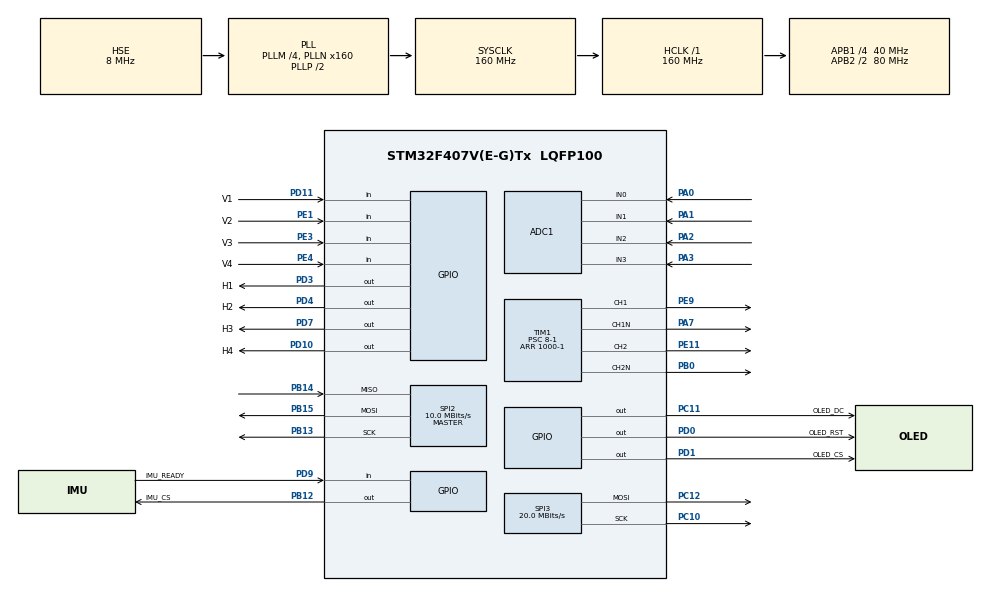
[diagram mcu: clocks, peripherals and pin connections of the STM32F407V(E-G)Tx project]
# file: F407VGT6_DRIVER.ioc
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ADC1.Channel-0\#ChannelRegularConversion=ADC_CHANNEL_0
ADC1.Channel-1\#ChannelRegularConversion=ADC_CHANNEL_1
ADC1.Channel-2\#ChannelRegularConversion=ADC_CHANNEL_2
ADC1.Channel-3\#ChannelRegularConversion=ADC_CHANNEL_3
ADC1.Channel-4\#ChannelRegularConversion=ADC_CHANNEL_VREFINT
ADC1.ClockPrescaler=ADC_CLOCK_SYNC_PCLK_DIV8
ADC1.DMAContinuousRequests=ENABLE
ADC1.ExternalTrigConv=ADC_EXTERNALTRIGCONV_T3_TRGO
ADC1.NbrOfConversion=5
ADC1.NbrOfConversionFlag=1
ADC1.Rank-0\#ChannelRegularConversion=1
ADC1.Rank-1\#ChannelRegularConversion=2
ADC1.Rank-2\#ChannelRegularConversion=3
ADC1.Rank-3\#ChannelRegularConversion=4
ADC1.Rank-4\#ChannelRegularConversion=5
ADC1.SamplingTime-0\#ChannelRegularConversion=ADC_SAMPLETIME_15CYCLES
ADC1.SamplingTime-1\#ChannelRegularConversion=ADC_SAMPLETIME_15CYCLES
ADC1.SamplingTime-2\#ChannelRegularConversion=ADC_SAMPLETIME_15CYCLES
ADC1.SamplingTime-3\#ChannelRegularConversion=ADC_SAMPLETIME_15CYCLES
ADC1.SamplingTime-4\#ChannelRegularConversion=ADC_SAMPLETIME_112CYCLES
ADC1.ScanConvMode=ENABLE
ADC1.master=1
Dma.ADC1.0.Direction=DMA_PERIPH_TO_MEMORY
Dma.ADC1.0.FIFOMode=DMA_FIFOMODE_DISABLE
Dma.ADC1.0.Instance=DMA2_Stream0
Dma.ADC1.0.MemDataAlignment=DMA_MDATAALIGN_WORD
Dma.ADC1.0.MemInc=DMA_MINC_ENABLE
Dma.ADC1.0.Mode=DMA_CIRCULAR
Dma.ADC1.0.PeriphDataAlignment=DMA_PDATAALIGN_WORD
Dma.ADC1.0.PeriphInc=DMA_PINC_DISABLE
Dma.ADC1.0.Priority=DMA_PRIORITY_LOW
Dma.Request0=ADC1
Mcu.Family=STM32F4
Mcu.Name=STM32F407V(E-G)Tx
Mcu.Package=LQFP100
NVIC.ADC_IRQn=true\:1\:0\:true\:false\:true\:true\:true\:true
NVIC.DMA2_Stream0_IRQn=true\:0\:0\:false\:false\:true\:false\:true\:true
NVIC.PriorityGroup=NVIC_PRIORITYGROUP_4
NVIC.TIM2_IRQn=true\:0\:0\:false\:false\:true\:true\:true\:true
NVIC.TIM4_IRQn=true\:0\:0\:false\:false\:true\:true\:true\:true
PA0-WKUP.Signal=ADCx_IN0
PA1.Signal=ADCx_IN1
PA13.Mode=Serial_Wire
PA13.Signal=SYS_JTMS-SWDIO
PA14.Mode=Serial_Wire
PA14.Signal=SYS_JTCK-SWCLK
PA2.Signal=ADCx_IN2
PA3.Signal=ADCx_IN3
PA7.Mode=PWM Generation1 CH1 CH1N
PA7.Signal=TIM1_CH1N
PB0.Mode=PWM Generation2 CH2 CH2N
PB0.Signal=TIM1_CH2N
PB12.GPIO_Label=IMU_CS
PB12.GPIO_PuPd=GPIO_PULLUP
PB12.GPIO_Speed=GPIO_SPEED_FREQ_HIGH
PB12.Signal=GPIO_Output
PB13.Mode=Full_Duplex_Master
PB13.Signal=SPI2_SCK
PB14.Mode=Full_Duplex_Master
PB14.Signal=SPI2_MISO
PB15.Mode=Full_Duplex_Master
PB15.Signal=SPI2_MOSI
PC10.Mode=TX_Only_Simplex_Unidirect_Master
PC10.Signal=SPI3_SCK
PC11.GPIO_Label=OLED_DC
PC11.GPIO_ModeDefaultOutputPP=GPIO_MODE_OUTPUT_PP
PC11.GPIO_PuPd=GPIO_PULLDOWN
PC11.GPIO_Speed=GPIO_SPEED_FREQ_HIGH
PC11.Signal=GPIO_Output
PC12.Mode=TX_Only_Simplex_Unidirect_Master
PC12.Signal=SPI3_MOSI
PC14-OSC32_IN.Mode=LSE-External-Oscillator
PC14-OSC32_IN.Signal=RCC_OSC32_IN
PC15-OSC32_OUT.Mode=LSE-External-Oscillator
PC15-OSC32_OUT.Signal=RCC_OSC32_OUT
PD0.GPIO_Label=OLED_RST
PD0.GPIO_PuPd=GPIO_PULLUP
PD0.Signal=GPIO_Output
PD1.GPIO_Label=OLED_CS
PD1.GPIO_PuPd=GPIO_PULLUP
PD1.Signal=GPIO_Output
PD10.GPIO_Label=H4
PD10.GPIO_PuPd=GPIO_PULLDOWN
PD10.GPIO_Speed=GPIO_SPEED_FREQ_HIGH
PD10.Signal=GPIO_Output
PD11.GPIO_Label=V1
PD11.GPIO_PuPd=GPIO_PULLDOWN
PD11.Signal=GPIO_Input
PD3.GPIO_Label=H1
PD3.GPIO_PuPd=GPIO_PULLDOWN
PD3.GPIO_Speed=GPIO_SPEED_FREQ_HIGH
PD3.Signal=GPIO_Output
PD4.GPIO_Label=H2
PD4.GPIO_PuPd=GPIO_PULLDOWN
PD4.GPIO_Speed=GPIO_SPEED_FREQ_HIGH
PD4.Signal=GPIO_Output
PD7.GPIO_Label=H3
PD7.GPIO_PuPd=GPIO_PULLDOWN
PD7.GPIO_Speed=GPIO_SPEED_FREQ_HIGH
PD7.Signal=GPIO_Output
PD9.GPIO_Label=IMU_READY
PD9.GPIO_PuPd=GPIO_PULLDOWN
PD9.Signal=GPIO_Input
PE1.GPIO_Label=V2
PE1.GPIO_PuPd=GPIO_PULLDOWN
PE1.Signal=GPIO_Input
PE11.Signal=S_TIM1_CH2
PE3.GPIO_Label=V3
PE3.GPIO_PuPd=GPIO_PULLDOWN
PE3.Signal=GPIO_Input
PE4.GPIO_Label=V4
PE4.GPIO_PuPd=GPIO_PULLDOWN
PE4.Signal=GPIO_Input
PE9.Signal=S_TIM1_CH1
PH0-OSC_IN.Mode=HSE-External-Oscillator
PH0-OSC_IN.Signal=RCC_OSC_IN
PH1-OSC_OUT.Mode=HSE-External-Oscillator
PH1-OSC_OUT.Signal=RCC_OSC_OUT
ProjectManager.HeapSize=0x200
ProjectManager.StackSize=0x400
ProjectManager.TargetToolchain=STM32CubeIDE
RCC.48MHZClocksFreq_Value=80000000
RCC.AHBFreq_Value=160000000
RCC.APB1CLKDivider=RCC_HCLK_DIV4
RCC.APB1Freq_Value=40000000
RCC.APB1TimFreq_Value=80000000
RCC.APB2CLKDivider=RCC_HCLK_DIV2
RCC.APB2Freq_Value=80000000
RCC.APB2TimFreq_Value=160000000
RCC.CortexFreq_Value=160000000
RCC.HCLKFreq_Value=160000000
RCC.HSE_VALUE=8000000
RCC.HSI_VALUE=16000000
RCC.PLLM=4
RCC.PLLN=160
RCC.PLLSourceVirtual=RCC_PLLSOURCE_HSE
RCC.SYSCLKFreq_VALUE=160000000
RCC.SYSCLKSource=RCC_SYSCLKSOURCE_PLLCLK
RCC.VCOOutputFreq_Value=320000000
SH.ADCx_IN0.0=ADC1_IN0,IN0
SH.ADCx_IN1.0=ADC1_IN1,IN1
SH.ADCx_IN2.0=ADC1_IN2,IN2
SH.ADCx_IN3.0=ADC1_IN3,IN3
SH.S_TIM1_CH1.0=TIM1_CH1,PWM Generation1 CH1 CH1N
SH.S_TIM1_CH2.0=TIM1_CH2,PWM Generation2 CH2 CH2N
SPI2.BaudRatePrescaler=SPI_BAUDRATEPRESCALER_4
SPI2.CLKPhase=SPI_PHASE_2EDGE
SPI2.CLKPolarity=SPI_POLARITY_HIGH
SPI2.CalculateBaudRate=10.0 MBits/s
SPI2.Direction=SPI_DIRECTION_2LINES
SPI2.Mode=SPI_MODE_MASTER
SPI2.VirtualType=VM_MASTER
SPI3.CalculateBaudRate=20.0 MBits/s
SPI3.Direction=SPI_DIRECTION_2LINES
SPI3.Mode=SPI_MODE_MASTER
SPI3.VirtualType=VM_MASTER
STMicroelectronics.X-CUBE-ALGOBUILD.1.4.0.LibraryCcDSPOoLibraryJjDSPOoLibrary=true
TIM1.AutoReloadPreload=TIM_AUTORELOAD_PRELOAD_ENABLE
TIM1.AutomaticOutput=TIM_AUTOMATICOUTPUT_DISABLE
TIM1.Channel-PWM\ Generation1\ CH1\ CH1N=TIM_CHANNEL_1
TIM1.Channel-PWM\ Generation2\ CH2\ CH2N=TIM_CHANNEL_2
TIM1.DeadTime=144
TIM1.OffStateIDLEMode=TIM_OSSI_ENABLE
TIM1.OffStateRunMode=TIM_OSSR_ENABLE
TIM1.Period=1000-1
TIM1.Prescaler=8-1
TIM1.Pulse-PWM\ Generation1\ CH1\ CH1N=800
TIM1.Pulse-PWM\ Generation2\ CH2\ CH2N=800
TIM2.AutoReloadPreload=TIM_AUTORELOAD_PRELOAD_ENABLE
TIM2.Period=10-1
TIM2.Prescaler=800-1
TIM3.Period=100-1
TIM3.Prescaler=80-1
TIM3.TIM_MasterOutputTrigger=TIM_TRGO_UPDATE
TIM4.Period=20000-1
TIM4.Prescaler=16000-1
VP_ADC1_Vref_Input.Mode=IN-Vrefint
VP_STMicroelectronics.X-CUBE-ALGOBUILD_VS_DSPOoLibraryJjLibrary_1.4.0_1.4.0.Mode=DSPOoLibraryJjLibrary
VP_TIM1_VS_ClockSourceINT.Mode=Internal
VP_TIM2_VS_ClockSourceINT.Mode=Internal
VP_TIM3_VS_ClockSourceINT.Mode=Internal
VP_TIM4_VS_ClockSourceINT.Mode=Internal
board=custom

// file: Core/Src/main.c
/* USER CODE BEGIN Header */
/**
  ******************************************************************************
  * @file           : main.c
  * @brief          : Main program body
  ******************************************************************************
  * @attention
  *
  * Copyright (c) 2025 STMicroelectronics.
  * All rights reserved.
  *
  * This software is licensed under terms that can be found in the LICENSE file
  * in the root directory of this software component.
  * If no LICENSE file comes with this software, it is provided AS-IS.
  *
  ******************************************************************************
  */
/* USER CODE END Header */
#include "main.h"
#include "adc.h"
#include "dma.h"
#include "spi.h"
#include "tim.h"
#include "gpio.h"

/* USER CODE BEGIN Includes */
#include "../../my_drivers/include/float_tools.h"
#include "arm_math.h"
/* USER CODE END Includes */

/* USER CODE BEGIN PD */
#define SQRT2 1.414213f
#define DMA_len 5
#define MAIN_DUTY_STEP 10.0f
#define MAIN_DUTY_MIN 100.0f
#define MAIN_DUTY_MAX 950.0f
#define MAIN_DEADTIME_PERCENT 2.5f
#define MAIN_TOTAL_ON_PERCENT 95.0f
#define VOLTAGE_INPUT_MIN 18U
#define VOLTAGE_INPUT_MAX 24U
#define VOLTAGE_OUTPUT_MIN 30U
#define VOLTAGE_OUTPUT_MAX 36U
#define VOLTAGE_CONTROL_SAMPLE_HZ 1000.0f
#define VOLTAGE_CONTROL_KP 3.0f
#define VOLTAGE_CONTROL_KI_PER_SAMPLE 0.020f
#define VOLTAGE_CONTROL_FILTER_ALPHA 0.10f
#define VOLTAGE_CONTROL_SOFTSTART_V_PER_S 2.0f
#define VOLTAGE_CONTROL_DUTY_MARGIN 100.0f
#define VOLTAGE_CONTROL_ABSOLUTE_MAX 650.0f
#define CURRENT_SENSOR_V_PER_A 1.0f
#define OVERCURRENT_TRIP_A 2.50f
#define OVERCURRENT_RESET_A 2.20f
#define OVERCURRENT_DEBOUNCE_SAMPLES 3U
#define OVERVOLTAGE_MARGIN_V 2.0f
#define OVERVOLTAGE_ABSOLUTE_V 38.0f
#define OVERVOLTAGE_DEBOUNCE_SAMPLES 5U
#define INVERTER_PWM_UPDATE_HZ 10000U
#define INVERTER_DC_INPUT_V 36.0f
#define INVERTER_FREQUENCY_MIN 20U
#define INVERTER_FREQUENCY_MAX 100U
#define INVERTER_FREQUENCY_DEFAULT 50U
#define INVERTER_DISPLAY_REFRESH_MS 200U
#define INVERTER_OUTPUT_RMS_MIN 18U
#define INVERTER_OUTPUT_RMS_MAX 25U
#define INVERTER_OUTPUT_RMS_DEFAULT 21U
#define INVERTER_TEST_FREQUENCY_HZ 50U
#define INVERTER_TEST_OUTPUT_RMS_V 21U
#define INVERTER_MODULATION_MIN 0.05f
#define INVERTER_MODULATION_MAX 1.00f
#define INVERTER_MODULATION_RAMP_STEP 0.00010f
/* Power-analyzer fine calibration: 21.20 Vrms actual corresponded to 20.93 Vrms OLED. */
#define INVERTER_VOLTAGE_SCALE 62.0f
/* Power-analyzer calibration: 2.10 Arms actual corresponded to 1.99 Arms OLED. */
#define INVERTER_CURRENT_SCALE 3.4508f
#define INVERTER_ADC_MID_DEFAULT 1.69f
#define INVERTER_MID_FILTER_ALPHA 0.00020f
#define INVERTER_CURRENT_RMS_TRIP_A 2.55f
#define INVERTER_CURRENT_PEAK_TRIP_A 5.00f
#define INVERTER_PEAK_DEBOUNCE_SAMPLES 5U
#define INVERTER_PID_KP 0.040f
#define INVERTER_PID_KI 0.400f
#define INVERTER_PID_KD 0.001f
/* USER CODE END PD */

/* USER CODE BEGIN PM */
void Display();
void KeyToControl(int key);
void doADC();
void U_PID();
void mppt();
void *model_func_pointer[4] = {doADC,U_PID};
void paremeter_group_add();
//void paremeter_group_sub();
void paremeter_choose_add();
//void paremeter_choose_sub();
void paremeter_display();
void MainDutyAdjust(float duty_step);
void VoltageSettingEnter(void);
void VoltageSettingHandleKey(int key);
void VoltageSettingDisplay(void);
void VoltageSettingApply(void);
void VoltageControlStep(void);
void VoltageControlFault(uint8_t fault_code);
int KeyCodeToDigit(int key);
void InverterStart(uint8_t closed_loop);
void InverterStop(uint8_t clear_fault);
void InverterSpwmStep(void);
void InverterAdcStep(void);
void InverterPidStep(void);
void InverterFault(void);
void InverterFrequencyEnter(void);
void InverterFrequencyHandleKey(int key);
void InverterDisplay(void);
void InverterFrequencyDisplay(void);
void InverterVoltageEnter(void);
void InverterVoltageHandleKey(int key);
void InverterVoltageDisplay(void);
void InverterUpdatePhaseStep(void);
void InverterSetModulation(float modulation);
void InverterProfileToggle(void);
float InverterFeedforwardModulation(void);
/* USER CODE END PM */

/* USER CODE BEGIN PV */
int mode_flag = 0,mppt_flag=0,mppt_try_flag=0,rs_flag=0;
volatile int main_duty_manual_flag = 0;
volatile int voltage_control_active = 0;
volatile uint8_t voltage_control_fault = 0;
volatile uint8_t inverter_active = 0;
volatile uint8_t inverter_closed_loop = 1;
volatile uint8_t inverter_fault = 0;
volatile uint8_t inverter_ui_selected = 1;
volatile uint8_t inverter_test_profile = 1;
volatile uint8_t inverter_frequency_page = 0;
volatile uint8_t inverter_voltage_page = 0;
volatile uint8_t inverter_softstart_done = 0;
volatile uint8_t inverter_peak_count = 0;
volatile uint16_t inverter_frequency_hz = INVERTER_FREQUENCY_DEFAULT;
volatile uint16_t inverter_target_rms_v = INVERTER_OUTPUT_RMS_DEFAULT;
uint16_t inverter_target_edit_v = INVERTER_OUTPUT_RMS_DEFAULT;
uint16_t inverter_test_frequency_hz = INVERTER_TEST_FREQUENCY_HZ;
uint16_t inverter_adj_frequency_hz = INVERTER_FREQUENCY_DEFAULT;
uint16_t inverter_adj_target_rms_v = INVERTER_OUTPUT_RMS_DEFAULT;
uint8_t inverter_adj_closed_loop = 0;
uint32_t display_last_refresh_ms = 0;
volatile uint32_t inverter_phase = 0;
volatile uint32_t inverter_adc_phase = 0;
volatile uint32_t inverter_phase_step = 0;
volatile uint16_t inverter_spwm_amplitude = 0;
volatile float inverter_modulation_command = 0.0f;
volatile float inverter_modulation_actual = 0.0f;
volatile float inverter_voltage_rms = 0.0f;
volatile float inverter_current_rms = 0.0f;
float inverter_voltage_mid = INVERTER_ADC_MID_DEFAULT;
float inverter_current_mid = INVERTER_ADC_MID_DEFAULT;
float inverter_voltage_square_sum = 0.0f;
float inverter_current_square_sum = 0.0f;
uint16_t inverter_rms_samples = 0;
float inverter_pid_integral = 0.0f;
float inverter_pid_previous_error = 0.0f;
int voltage_setting_page = 0, voltage_setting_value = 0;
int voltage_setting_digits = 0, voltage_setting_error = 0;
int voltage_setting_previous_mode = 0, voltage_setting_previous_manual = 0;
int voltage_setting_previous_control = 0;
float voltage_setting_vin = 18.0f;
float voltage_control_duty_min = MAIN_DUTY_MIN;
float voltage_control_duty_max = VOLTAGE_CONTROL_ABSOLUTE_MAX;
float voltage_control_integral = 0.0f;
float voltage_control_soft_setpoint = VOLTAGE_OUTPUT_MIN;
uint16_t overcurrent_count = 0, overvoltage_count = 0;
uint8_t adc_filter_initialized = 0;
int paremeter_group_flag = 0, paremeter_choose_flag = 0, paremeter_flag = 0;
int test;
int key_value=0,key_value0=0;
int time_flag=0,flag=0;
float vol0,vol1,vol2,vol3,vol4,vref;
volatile uint32_t DMA_data[DMA_len];
float Uo_set=30.0f,Uin_set=25.0f;
volatile float Uin,Iin,Uo,Us,Iout,Uo_instant,Iout_instant;
float Rs=10.5f,Rs1,Rs2,Rs3,Uin1,Iin1,Uin2,Iin2,Uin3,Iin3;
float tem_err1,tem_err2,uo_b=0.0,us_b=0.0,bias1=0.3f,bias2=0.1f;
float u1_duty=800.0,u2_duty=650.0;
float u1_p=12,u1_i=0.001;
float u2_p=12,u2_i=0.001;
//4组*3 可调参数
float *paremeter[12] = {&uo_b, &u1_p, &u1_i,
						&us_b,&u2_p, &u2_i,
						&bias1,&bias2,&bias2,
						&u1_duty,&u2_duty,&u2_duty};
PID_CONTROLER_F u1_loop,u2_loop;
//float test;
/* USER CODE END PV */

void SystemClock_Config(void);

int main(void)
{

  /* MCU Configuration--------------------------------------------------------*/

  /* Reset of all peripherals, Initializes the Flash interface and the Systick. */
  HAL_Init();

  /* Configure the system clock */
  SystemClock_Config();

  /* Initialize all configured peripherals */
  MX_GPIO_Init();
  MX_DMA_Init();
  MX_SPI3_Init();
  MX_SPI2_Init();
  MX_TIM2_Init();
  MX_TIM1_Init();
  MX_ADC1_Init();
  MX_TIM3_Init();
  MX_TIM4_Init();
  /* USER CODE BEGIN 2 */
  OLED_RST_Set();//拉高屏幕复位引脚
  OLED_Init();
  OLED_Clear();
//  OLED_ShowString(0, 0, "Test");
//  OLED_ShowString(0, 2, "sin_of_key");
//  test = arm_sin_f32(0.5);
  PID_init_F(&u1_loop, u1_duty, u1_p, u1_i, 0, 950, 100);
  PID_init_F(&u2_loop, u2_duty, u2_p, u2_i, 0, 950, 100);

  HAL_TIM_Base_Start_IT(&htim2);
  HAL_TIM_Base_Start_IT(&htim4);

  HAL_TIM_PWM_Start(&htim1,TIM_CHANNEL_1);
  HAL_TIMEx_PWMN_Start(&htim1,TIM_CHANNEL_1);
  HAL_TIM_PWM_Start(&htim1,TIM_CHANNEL_2);
  HAL_TIMEx_PWMN_Start(&htim1,TIM_CHANNEL_2);

  /* Keep all four bridge outputs off until a mode is explicitly started. */
  __HAL_TIM_MOE_DISABLE_UNCONDITIONALLY(&htim1);
  InverterUpdatePhaseStep();

  HAL_ADC_Start_DMA(&hadc1,(uint32_t *)DMA_data,DMA_len);//启动ADC
  HAL_TIM_Base_Start(&htim3);//启动定时器

  HAL_Delay(200);
  /* USER CODE END 2 */

  /* Infinite loop */
  while (1)
  {

    /* USER CODE BEGIN 3 */
//	  	HAL_Delay(150);
		key_value0=key_value;
		key_value = getKeyValue();
		if (key_value != key_value0)
		{
		  KeyToControl(key_value);
		}
		if((uint32_t)(HAL_GetTick()-display_last_refresh_ms)>=INVERTER_DISPLAY_REFRESH_MS)
		{
			display_last_refresh_ms = HAL_GetTick();
			Display();
		}
  }
  /* USER CODE END 3 */
}

void SystemClock_Config(void)
{
  RCC_OscInitTypeDef RCC_OscInitStruct = {0};
  RCC_ClkInitTypeDef RCC_ClkInitStruct = {0};

  /** Configure the main internal regulator output voltage
  */
  __HAL_RCC_PWR_CLK_ENABLE();
  __HAL_PWR_VOLTAGESCALING_CONFIG(PWR_REGULATOR_VOLTAGE_SCALE1);

  /** Initializes the RCC Oscillators according to the specified parameters
  * in the RCC_OscInitTypeDef structure.
  */
  RCC_OscInitStruct.OscillatorType = RCC_OSCILLATORTYPE_HSE;
  RCC_OscInitStruct.HSEState = RCC_HSE_ON;
  RCC_OscInitStruct.PLL.PLLState = RCC_PLL_ON;
  RCC_OscInitStruct.PLL.PLLSource = RCC_PLLSOURCE_HSE;
  RCC_OscInitStruct.PLL.PLLM = 4;
  RCC_OscInitStruct.PLL.PLLN = 160;
  RCC_OscInitStruct.PLL.PLLP = RCC_PLLP_DIV2;
  RCC_OscInitStruct.PLL.PLLQ = 4;
  if (HAL_RCC_OscConfig(&RCC_OscInitStruct) != HAL_OK)
  {
    Error_Handler();
  }

  /** Initializes the CPU, AHB and APB buses clocks
  */
  RCC_ClkInitStruct.ClockType = RCC_CLOCKTYPE_HCLK|RCC_CLOCKTYPE_SYSCLK
                              |RCC_CLOCKTYPE_PCLK1|RCC_CLOCKTYPE_PCLK2;
  RCC_ClkInitStruct.SYSCLKSource = RCC_SYSCLKSOURCE_PLLCLK;
  RCC_ClkInitStruct.AHBCLKDivider = RCC_SYSCLK_DIV1;
  RCC_ClkInitStruct.APB1CLKDivider = RCC_HCLK_DIV4;
  RCC_ClkInitStruct.APB2CLKDivider = RCC_HCLK_DIV2;

  if (HAL_RCC_ClockConfig(&RCC_ClkInitStruct, FLASH_LATENCY_5) != HAL_OK)
  {
    Error_Handler();
  }
}

/* USER CODE BEGIN 4 */
void doADC()//mode0
{
	float uo_sample, iout_sample;
//    if (time_flag < 1000)
//    {
//      time_flag++;
//      return;
//    }
//    time_flag = 0;

	vol0=DMA_data[0];//i
	vol1=DMA_data[1];//uo
	vol2=DMA_data[2];//ui
	vol3=DMA_data[3];//us
	vol4=DMA_data[4];

	if(vol4<100.0f)
		return;
	vref=1.21f*(4095.0f/vol4);

	Iin=((vol0/4095.0f)*vref)*0.9105f+0.0112f;
//	Uo=((vol1/4095.0f)*vref)*16.147f+0.034f+uo_b;
	uo_sample=((vol1/4095.0f)*vref)*20.5f;//Preserve the calibrated Uo scale.
	Uin=((vol2/4095.0f)*vref)*16.185f-0.012f;
	Us=((vol3/4095.0f)*vref)*20.93f+us_b;

	uo_sample=(Us>52.0f)?(uo_sample+bias1):((Us>48)?(uo_sample+bias2):uo_sample);
	iout_sample=((vol0/4095.0f)*vref)/CURRENT_SENSOR_V_PER_A;
	Uo_instant = uo_sample;
	Iout_instant = iout_sample;
	if(!adc_filter_initialized)
	{
		Uo = uo_sample;
		Iout = iout_sample;
		adc_filter_initialized = 1;
	}
	else
	{
		Uo += VOLTAGE_CONTROL_FILTER_ALPHA*(uo_sample-Uo);
		Iout += VOLTAGE_CONTROL_FILTER_ALPHA*(iout_sample-Iout);
	}
//	if(flag<2)
//	{
//		if(flag==0)
//		{
//			Uin1=Uin;
//			Iin1=Iin;
//			if(Uin1>29&&Uin1<31)
//			{
//				flag=1;
//				__HAL_TIM_SetCompare(&htim1, TIM_CHANNEL_1, (uint16_t)(u1_duty+100));//boost
//			}
//		}
//		if(flag==1)
//		{
//			Uin2=Uin;
//			Iin2=Iin;
//		}
//		if(fabs(Uin1-Uin2)>2)
//		{
//			Rs=fabs((Uin1-Uin2)/(Iin2-Iin1));
//			flag=2;
//		}
//	}

}

void U_PID()//mode1
{
	doADC();

	tem_err2=Uo-Uo_set;
	PID_step_F(&u2_loop, tem_err2);
	u2_duty=u2_loop.out;
	__HAL_TIM_SetCompare(&htim1, TIM_CHANNEL_2, (uint16_t)(u2_duty));//双向dcdc

	if(main_duty_manual_flag==0)
	{
		tem_err1=Us*0.5f-Uin;
		if(rs_flag==0)
			PID_step_F(&u1_loop, tem_err1);
		else
			PID_step_F(&u1_loop, Uin_set-Uin);
		u1_duty=u1_loop.out;
	}
	__HAL_TIM_SetCompare(&htim1, TIM_CHANNEL_1, (uint16_t)(u1_duty));//boost

	PID_CHANGE_PARAM_F(&u1_loop,u1_p,u1_i,0);
	PID_CHANGE_PARAM_F(&u2_loop,u2_p,u2_i,0);
}

void mppt()
{
    if(mppt_try_flag==0)
    {
      mppt_try_flag=1;
    }
    else if(mppt_try_flag==1)
	{
		Uin1=Uin;
		Iin1=Iin;
		Uin_set=Uin+1;
		mppt_try_flag=2;
	}
    else if(mppt_try_flag==2)
    {
    	Uin2=Uin;
        Iin2=Iin;
        Rs1=fabs((Uin2-Uin1)/(Iin2-Iin1));
        Uin_set=Uin-2;
        mppt_try_flag=3;
    }
    else if(mppt_try_flag==3)
    {
    	Uin3=Uin;
    	Iin3=Iin;
        Rs2=fabs((Uin3-Uin1)/(Iin3-Iin1));
        Rs3=fabs((Uin3-Uin2)/(Iin3-Iin2));
      	Rs=(Rs1+Rs2+Rs3)/3.0f;
        Uin_set=(Uin+Iin*Rs)/2.0f;
        mppt_flag=0;
        mppt_try_flag=0;
    }
}

void Display()//x 0~127 一个6格
{
	float li_duty_percent = u1_duty/10.0f-MAIN_DEADTIME_PERCENT;
	float hi_duty_percent = MAIN_TOTAL_ON_PERCENT-li_duty_percent;

	if(inverter_voltage_page)
	{
		InverterVoltageDisplay();
		return;
	}

	if(inverter_frequency_page)
	{
		InverterFrequencyDisplay();
		return;
	}

	if(inverter_ui_selected)
	{
		InverterDisplay();
		return;
	}

	if(voltage_setting_page!=0)
	{
		VoltageSettingDisplay();
		return;
	}

	OLED_ShowString(0, -1, "mode");
	OLED_ShowNum(30, -1, mode_flag, 1, 16);

	/* LI=TIM1_CH1, HI=TIM1_CH1N; both values include the configured dead time. */
	OLED_ShowString(0, 0, "L");
	OLED_ShowFloat(12, 0, li_duty_percent, 2, 1, 12);
	OLED_ShowString(48, 0, "H");
	OLED_ShowFloat(60, 0, hi_duty_percent, 2, 1, 12);
	OLED_ShowString(96, 0, "S");
	OLED_ShowNum(108, 0, (uint32_t)MAIN_TOTAL_ON_PERCENT, 2, 12);

	OLED_ShowString(0, 1, "UIi");
	OLED_ShowFloat(24, 1, Uin, 2, 3, 12);
	OLED_ShowFloat(60, 1, Iin, 2, 3, 12);

	OLED_ShowString(0, 2, "Uo");
	OLED_ShowFloat(24, 2, Uo, 2, 4, 12);

	OLED_ShowString(0, 3, "Rs");
	OLED_ShowFloat(24, 3, Rs, 2, 2, 12);
	OLED_ShowNum(80, 3, rs_flag, 1, 12);

	OLED_ShowString(0, 4, "Us");
	OLED_ShowFloat(24, 4, Us, 2, 4, 12);

	OLED_ShowString(0, 5, "Main");
	OLED_ShowFloat(30, 5, u1_duty/10.0f, 2, 1, 12);
	OLED_ShowChar(60, 5, '%');
	if(voltage_control_active)
		OLED_ShowString(72, 5, "VC");
	else
		OLED_ShowString(72, 5, "  ");

	OLED_ShowNum(96, 5, mppt_flag, 1, 12);
	OLED_ShowNum(112, 5, mppt_try_flag, 1, 12);

	if(voltage_control_active)
	{
		OLED_ShowString(0, 6, "Set");
		OLED_ShowNum(24, 6, (uint32_t)Uo_set, 2, 12);
		OLED_ShowString(48, 6, "In");
		OLED_ShowNum(66, 6, (uint32_t)Uin_set, 2, 12);
		OLED_ShowString(90, 6, "Io");
		OLED_ShowFloat(108, 6, Iout, 1, 1, 12);
	}
	else if(voltage_control_fault)
	{
		OLED_ShowString(0, 6, "FAULT");
		OLED_ShowNum(42, 6, voltage_control_fault, 1, 12);
	}
	else
		paremeter_display();

}

void MainDutyAdjust(float duty_step)
{
	voltage_control_active = 0;
	main_duty_manual_flag = 1;
	u1_duty += duty_step;
	u1_duty = (u1_duty > MAIN_DUTY_MAX) ? MAIN_DUTY_MAX :
			  ((u1_duty < MAIN_DUTY_MIN) ? MAIN_DUTY_MIN : u1_duty);

	/* Keep the PI state aligned so returning to automatic control is smooth. */
	u1_loop.out = u1_duty;
	u1_loop.out_last = u1_duty;
	__HAL_TIM_SetCompare(&htim1, TIM_CHANNEL_1, (uint16_t)(u1_duty));
}

int KeyCodeToDigit(int key)
{
	switch(key)
	{
	case 2:  return 1;
	case 1:  return 2;
	case 3:  return 3;
	case 6:  return 4;
	case 5:  return 5;
	case 7:  return 6;
	case 10: return 7;
	case 9:  return 8;
	case 11: return 9;
	case 13: return 0;
	default: return -1;
	}
}

void VoltageSettingEnter(void)
{
	voltage_setting_previous_mode = mode_flag;
	voltage_setting_previous_manual = main_duty_manual_flag;
	voltage_setting_previous_control = voltage_control_active;
	voltage_control_active = 0;
	main_duty_manual_flag = 1;
	voltage_setting_page = 1;
	voltage_setting_value = 0;
	voltage_setting_digits = 0;
	voltage_setting_error = 0;
	OLED_Clear();
}

void VoltageSettingApply(void)
{
	float duty_percent = (1.0f-Uin_set/Uo_set)*100.0f+MAIN_DEADTIME_PERCENT;

	u1_duty = duty_percent*10.0f;
	u1_duty = (u1_duty > MAIN_DUTY_MAX) ? MAIN_DUTY_MAX :
			  ((u1_duty < MAIN_DUTY_MIN) ? MAIN_DUTY_MIN : u1_duty);
	voltage_control_duty_min = MAIN_DUTY_MIN;
	voltage_control_duty_max = u1_duty+VOLTAGE_CONTROL_DUTY_MARGIN;
	voltage_control_duty_max = (voltage_control_duty_max>VOLTAGE_CONTROL_ABSOLUTE_MAX) ?
						   VOLTAGE_CONTROL_ABSOLUTE_MAX : voltage_control_duty_max;
	voltage_control_integral = 0.0f;
	voltage_control_soft_setpoint = Uo;
	if(voltage_control_soft_setpoint<Uin_set)
		voltage_control_soft_setpoint = Uin_set;
	if(voltage_control_soft_setpoint>Uo_set)
		voltage_control_soft_setpoint = Uo_set;
	voltage_control_fault = 0;
	overcurrent_count = 0;
	overvoltage_count = 0;
	__HAL_TIM_MOE_ENABLE(&htim1);
	/* Start at minimum duty; feed-forward follows the ramped reference. */
	u1_duty = MAIN_DUTY_MIN;
	u1_loop.out = u1_duty;
	u1_loop.out_last = u1_duty;
	__HAL_TIM_SetCompare(&htim1, TIM_CHANNEL_1, (uint16_t)u1_duty);

	/* Use the new voltage controller without changing the legacy MODE1 loops. */
	mode_flag = 0;
	main_duty_manual_flag = 1;
	voltage_control_active = 1;
	voltage_setting_page = 0;
	OLED_Clear();
}

void VoltageSettingHandleKey(int key)
{
	int digit;

	if(key==16) /* D: cancel */
	{
		mode_flag = voltage_setting_previous_mode;
		main_duty_manual_flag = voltage_setting_previous_manual;
		voltage_control_active = voltage_setting_previous_control;
		voltage_setting_page = 0;
		OLED_Clear();
		return;
	}

	if(key==14) /* *: backspace */
	{
		if(voltage_setting_digits>0)
		{
			voltage_setting_value /= 10;
			voltage_setting_digits--;
		}
		voltage_setting_error = 0;
		return;
	}

	if(key==15) /* #: confirm */
	{
		if(voltage_setting_digits==0)
		{
			voltage_setting_error = 1;
			return;
		}

		if(voltage_setting_page==1)
		{
			if(voltage_setting_value<(int)VOLTAGE_INPUT_MIN ||
			   voltage_setting_value>(int)VOLTAGE_INPUT_MAX)
			{
				voltage_setting_error = 1;
				return;
			}
			voltage_setting_vin = (float)voltage_setting_value;
			voltage_setting_page = 2;
			voltage_setting_value = 0;
			voltage_setting_digits = 0;
			voltage_setting_error = 0;
			OLED_Clear();
			return;
		}

		if(voltage_setting_value<(int)VOLTAGE_OUTPUT_MIN ||
		   voltage_setting_value>(int)VOLTAGE_OUTPUT_MAX ||
		   (float)voltage_setting_value<=voltage_setting_vin)
		{
			voltage_setting_error = 1;
			return;
		}

		Uin_set = voltage_setting_vin;
		Uo_set = (float)voltage_setting_value;
		VoltageSettingApply();
		return;
	}

	digit = KeyCodeToDigit(key);
	if(digit>=0 && voltage_setting_digits<2)
	{
		voltage_setting_value = voltage_setting_value*10+digit;
		voltage_setting_digits++;
		voltage_setting_error = 0;
	}
}

void VoltageSettingDisplay(void)
{
	OLED_ShowString(0, 0, "DC-DC SET");
	if(voltage_setting_page==1)
	{
		OLED_ShowString(0, 1, "VIN 18-24V");
		OLED_ShowString(0, 3, "VIN:");
	}
	else
	{
		OLED_ShowString(0, 1, "VIN:");
		OLED_ShowNum(30, 1, (uint32_t)voltage_setting_vin, 2, 12);
		OLED_ShowString(0, 2, "OUT 30-36V");
		OLED_ShowString(0, 3, "OUT:");
	}

	if(voltage_setting_digits==0)
		OLED_ShowString(36, 3, "--");
	else
		OLED_ShowNum(36, 3, (uint32_t)voltage_setting_value,
					 voltage_setting_digits, 16);

	if(voltage_setting_error)
		OLED_ShowString(0, 5, "RANGE ERROR");
	else
		OLED_ShowString(0, 5, "           ");
	OLED_ShowString(0, 6, "#OK *DEL DEXIT");
}

void VoltageControlStep(void)
{
	float error, feedforward, proportional, unsaturated, next_integral;
	float overvoltage_limit = Uo_set+OVERVOLTAGE_MARGIN_V;

	if(!voltage_control_active || voltage_setting_page!=0)
		return;

	/* INA282 gain 50 V/V and 20 mOhm shunt give approximately 1 V/A. */
	if(Iout_instant>=OVERCURRENT_TRIP_A)
		overcurrent_count++;
	else if(Iout_instant<=OVERCURRENT_RESET_A)
		overcurrent_count = 0;
	if(overcurrent_count>=OVERCURRENT_DEBOUNCE_SAMPLES)
	{
		VoltageControlFault(1);
		return;
	}

	if(overvoltage_limit>OVERVOLTAGE_ABSOLUTE_V)
		overvoltage_limit = OVERVOLTAGE_ABSOLUTE_V;
	if(Uo_instant>=overvoltage_limit)
		overvoltage_count++;
	else
		overvoltage_count = 0;
	if(overvoltage_count>=OVERVOLTAGE_DEBOUNCE_SAMPLES)
	{
		VoltageControlFault(2);
		return;
	}

	if(voltage_control_soft_setpoint<Uo_set)
	{
		voltage_control_soft_setpoint += VOLTAGE_CONTROL_SOFTSTART_V_PER_S/
									 VOLTAGE_CONTROL_SAMPLE_HZ;
		if(voltage_control_soft_setpoint>Uo_set)
			voltage_control_soft_setpoint = Uo_set;
	}

	feedforward = (1.0f-Uin_set/voltage_control_soft_setpoint)*1000.0f+
				  MAIN_DEADTIME_PERCENT*10.0f;
	error = voltage_control_soft_setpoint-Uo;
	proportional = VOLTAGE_CONTROL_KP*error;
	next_integral = voltage_control_integral+VOLTAGE_CONTROL_KI_PER_SAMPLE*error;
	unsaturated = feedforward+proportional+next_integral;

	/* Conditional integration prevents wind-up at either duty limit. */
	if((unsaturated<voltage_control_duty_max && unsaturated>voltage_control_duty_min) ||
	   (unsaturated>=voltage_control_duty_max && error<0.0f) ||
	   (unsaturated<=voltage_control_duty_min && error>0.0f))
		voltage_control_integral = next_integral;

	u1_duty = feedforward+proportional+voltage_control_integral;
	u1_duty = (u1_duty>voltage_control_duty_max) ? voltage_control_duty_max :
			  ((u1_duty<voltage_control_duty_min) ? voltage_control_duty_min : u1_duty);
	u1_loop.out = u1_duty;
	u1_loop.out_last = u1_duty;
	__HAL_TIM_SetCompare(&htim1, TIM_CHANNEL_1, (uint16_t)u1_duty);
}

void VoltageControlFault(uint8_t fault_code)
{
	voltage_control_fault = fault_code;
	voltage_control_active = 0;
	main_duty_manual_flag = 1;
	__HAL_TIM_MOE_DISABLE_UNCONDITIONALLY(&htim1);
}

void InverterUpdatePhaseStep(void)
{
	inverter_phase_step = (uint32_t)(((uint64_t)inverter_frequency_hz*4294967296ULL)/
								 INVERTER_PWM_UPDATE_HZ);
}

float InverterFeedforwardModulation(void)
{
	return ((float)inverter_target_rms_v*SQRT2)/INVERTER_DC_INPUT_V;
}

void InverterSetModulation(float modulation)
{
	if(modulation>INVERTER_MODULATION_MAX)
		modulation = INVERTER_MODULATION_MAX;
	else if(modulation<INVERTER_MODULATION_MIN)
		modulation = INVERTER_MODULATION_MIN;
	inverter_modulation_command = modulation;
}

void InverterProfileToggle(void)
{
	InverterStop(1);
	if(inverter_test_profile)
	{
		inverter_test_frequency_hz = inverter_frequency_hz;
		inverter_test_profile = 0;
		inverter_frequency_hz = inverter_adj_frequency_hz;
		inverter_target_rms_v = inverter_adj_target_rms_v;
		inverter_closed_loop = inverter_adj_closed_loop;
	}
	else
	{
		inverter_adj_frequency_hz = inverter_frequency_hz;
		inverter_adj_target_rms_v = inverter_target_rms_v;
		inverter_adj_closed_loop = inverter_closed_loop;
		inverter_test_profile = 1;
		inverter_frequency_hz = inverter_test_frequency_hz;
		inverter_target_rms_v = INVERTER_TEST_OUTPUT_RMS_V;
		inverter_closed_loop = 1;
	}
	mode_flag = inverter_closed_loop ? 1 : 0;
	inverter_target_edit_v = inverter_target_rms_v;
	inverter_frequency_page = 0;
	inverter_voltage_page = 0;
	voltage_setting_page = 0;
	inverter_ui_selected = 1;
	InverterUpdatePhaseStep();
	OLED_Clear();
}

void InverterStart(uint8_t closed_loop)
{
	float sample_vref = 3.3f;
	float voltage_mid, current_mid;

	__HAL_TIM_MOE_DISABLE_UNCONDITIONALLY(&htim1);
	if(inverter_test_profile)
	{
		inverter_test_frequency_hz = inverter_frequency_hz;
		inverter_target_rms_v = INVERTER_TEST_OUTPUT_RMS_V;
		inverter_target_edit_v = INVERTER_TEST_OUTPUT_RMS_V;
		closed_loop = 1;
	}
	if(DMA_data[4]>100U)
		sample_vref = 1.21f*(4095.0f/(float)DMA_data[4]);
	voltage_mid = ((float)DMA_data[1]/4095.0f)*sample_vref;
	current_mid = ((float)DMA_data[0]/4095.0f)*sample_vref;
	inverter_voltage_mid = (voltage_mid>0.5f && voltage_mid<2.8f) ?
						 voltage_mid : INVERTER_ADC_MID_DEFAULT;
	inverter_current_mid = (current_mid>0.5f && current_mid<2.8f) ?
						 current_mid : INVERTER_ADC_MID_DEFAULT;

	mode_flag = closed_loop ? 1 : 0;
	inverter_closed_loop = closed_loop ? 1U : 0U;
	inverter_active = 1;
	inverter_fault = 0;
	inverter_ui_selected = 1;
	inverter_frequency_page = 0;
	inverter_voltage_page = 0;
	inverter_softstart_done = 0;
	inverter_peak_count = 0;
	voltage_control_active = 0;
	voltage_setting_page = 0;
	inverter_phase = 0;
	inverter_adc_phase = 0;
	inverter_voltage_square_sum = 0.0f;
	inverter_current_square_sum = 0.0f;
	inverter_rms_samples = 0;
	inverter_voltage_rms = 0.0f;
	inverter_current_rms = 0.0f;
	inverter_pid_integral = 0.0f;
	inverter_pid_previous_error = 0.0f;
	inverter_modulation_actual = 0.0f;
	InverterSetModulation(InverterFeedforwardModulation());
	InverterUpdatePhaseStep();
	__HAL_TIM_SetCompare(&htim1, TIM_CHANNEL_1, 500U);
	__HAL_TIM_SetCompare(&htim1, TIM_CHANNEL_2, 500U);
	__HAL_TIM_MOE_ENABLE(&htim1);
	OLED_Clear();
}

void InverterStop(uint8_t clear_fault)
{
	inverter_active = 0;
	__HAL_TIM_MOE_DISABLE_UNCONDITIONALLY(&htim1);
	__HAL_TIM_SetCompare(&htim1, TIM_CHANNEL_1, 500U);
	__HAL_TIM_SetCompare(&htim1, TIM_CHANNEL_2, 500U);
	if(clear_fault)
		inverter_fault = 0;
}

void InverterFault(void)
{
	inverter_fault = 1;
	InverterStop(0);
}

void InverterSpwmStep(void)
{
	q15_t sine_value;
	int32_t delta;
	uint16_t compare1, compare2;

	if(!inverter_active)
		return;

	if(inverter_modulation_actual<inverter_modulation_command)
	{
		inverter_modulation_actual += INVERTER_MODULATION_RAMP_STEP;
		if(inverter_modulation_actual>=inverter_modulation_command)
		{
			inverter_modulation_actual = inverter_modulation_command;
			inverter_softstart_done = 1;
		}
	}
	else if(inverter_modulation_actual>inverter_modulation_command)
	{
		inverter_modulation_actual -= INVERTER_MODULATION_RAMP_STEP;
		if(inverter_modulation_actual<inverter_modulation_command)
			inverter_modulation_actual = inverter_modulation_command;
	}

	inverter_spwm_amplitude = (uint16_t)(inverter_modulation_actual*500.0f);
	sine_value = arm_sin_q15((q15_t)(inverter_phase>>17));
	delta = ((int32_t)sine_value*(int32_t)inverter_spwm_amplitude)>>15;
	compare1 = (uint16_t)(500+delta);
	compare2 = (uint16_t)(500-delta);
	__HAL_TIM_SetCompare(&htim1, TIM_CHANNEL_1, compare1);
	__HAL_TIM_SetCompare(&htim1, TIM_CHANNEL_2, compare2);
	u1_duty = (float)compare1;
	u2_duty = (float)compare2;
	inverter_phase += inverter_phase_step;
}

void InverterPidStep(void)
{
	float error, derivative, feedforward, integral_candidate, modulation_unsaturated;
	float dt;

	if(!inverter_closed_loop || !inverter_softstart_done || inverter_fault)
		return;

	dt = 1.0f/(float)inverter_frequency_hz;
	feedforward = InverterFeedforwardModulation();
	error = (float)inverter_target_rms_v-inverter_voltage_rms;
	derivative = (error-inverter_pid_previous_error)/dt;
	integral_candidate = inverter_pid_integral+error*dt;
	modulation_unsaturated = feedforward+
						 INVERTER_PID_KP*error+
						 INVERTER_PID_KI*integral_candidate+
						 INVERTER_PID_KD*derivative;

	if((modulation_unsaturated<INVERTER_MODULATION_MAX &&
		modulation_unsaturated>INVERTER_MODULATION_MIN) ||
	   (modulation_unsaturated>=INVERTER_MODULATION_MAX && error<0.0f) ||
	   (modulation_unsaturated<=INVERTER_MODULATION_MIN && error>0.0f))
		inverter_pid_integral = integral_candidate;

	modulation_unsaturated = feedforward+
						 INVERTER_PID_KP*error+
						 INVERTER_PID_KI*inverter_pid_integral+
						 INVERTER_PID_KD*derivative;
	InverterSetModulation(modulation_unsaturated);
	inverter_pid_previous_error = error;
}

void InverterAdcStep(void)
{
	float sample_vref, adc_voltage, adc_current;
	float voltage_instant, current_instant;
	uint32_t old_phase;

	if(!inverter_active || DMA_data[4]<100U)
		return;

	sample_vref = 1.21f*(4095.0f/(float)DMA_data[4]);
	adc_voltage = ((float)DMA_data[1]/4095.0f)*sample_vref;
	adc_current = ((float)DMA_data[0]/4095.0f)*sample_vref;
	inverter_voltage_mid += INVERTER_MID_FILTER_ALPHA*(adc_voltage-inverter_voltage_mid);
	inverter_current_mid += INVERTER_MID_FILTER_ALPHA*(adc_current-inverter_current_mid);
	voltage_instant = (adc_voltage-inverter_voltage_mid)*INVERTER_VOLTAGE_SCALE;
	current_instant = (adc_current-inverter_current_mid)*INVERTER_CURRENT_SCALE;
	inverter_voltage_square_sum += voltage_instant*voltage_instant;
	inverter_current_square_sum += current_instant*current_instant;
	inverter_rms_samples++;

	if(fabsf(current_instant)>=INVERTER_CURRENT_PEAK_TRIP_A)
	{
		if(inverter_peak_count<255U)
			inverter_peak_count++;
	}
	else
		inverter_peak_count = 0;
	if(inverter_peak_count>=INVERTER_PEAK_DEBOUNCE_SAMPLES)
	{
		InverterFault();
		return;
	}

	old_phase = inverter_adc_phase;
	inverter_adc_phase += inverter_phase_step;
	if(inverter_adc_phase<old_phase)
	{
		if(inverter_rms_samples>0U)
		{
			inverter_voltage_rms = sqrtf(inverter_voltage_square_sum/
									   (float)inverter_rms_samples);
			inverter_current_rms = sqrtf(inverter_current_square_sum/
									   (float)inverter_rms_samples);
		}
		inverter_voltage_square_sum = 0.0f;
		inverter_current_square_sum = 0.0f;
		inverter_rms_samples = 0;
		if(inverter_current_rms>=INVERTER_CURRENT_RMS_TRIP_A)
		{
			InverterFault();
			return;
		}
		InverterPidStep();
	}
}

void InverterFrequencyEnter(void)
{
	InverterStop(0);
	inverter_ui_selected = 1;
	inverter_voltage_page = 0;
	inverter_frequency_page = 1;
	OLED_Clear();
}

void InverterFrequencyHandleKey(int key)
{
	if(key==4 && inverter_frequency_hz<INVERTER_FREQUENCY_MAX) /* A: +1 Hz */
		inverter_frequency_hz++;
	else if(key==8 && inverter_frequency_hz>INVERTER_FREQUENCY_MIN) /* B: -1 Hz */
		inverter_frequency_hz--;
	else if(!inverter_test_profile && key==2) /* 1: MODE0 in ADJ profile */
		inverter_closed_loop = 0;
	else if(!inverter_test_profile && key==1) /* 2: MODE1 in ADJ profile */
		inverter_closed_loop = 1;
	else if(key==15) /* #: run selected mode */
	{
		if(inverter_test_profile)
			inverter_test_frequency_hz = inverter_frequency_hz;
		InverterStart(inverter_closed_loop);
		return;
	}
	else if(key==16) /* D: stop and clear fault */
	{
		InverterStop(1);
		inverter_frequency_page = 0;
		OLED_Clear();
		return;
	}
	InverterUpdatePhaseStep();
}

void InverterFrequencyDisplay(void)
{
	OLED_ShowString(0, 0, "SPWM FREQ SET");
	OLED_ShowString(0, 1, inverter_closed_loop ? "MODE1 PID" : "MODE0 OPEN");
	OLED_ShowString(0, 2, "RANGE 20-100Hz");
	OLED_ShowString(0, 3, "F:");
	OLED_ShowNum(18, 3, inverter_frequency_hz, 3, 16);
	OLED_ShowString(48, 3, "Hz");
	OLED_ShowString(0, 5, "A:+1  B:-1");
	OLED_ShowString(0, 6, "#RUN D:STOP");
}

void InverterVoltageEnter(void)
{
	InverterStop(0);
	inverter_ui_selected = 1;
	inverter_frequency_page = 0;
	inverter_voltage_page = 1;
	inverter_target_edit_v = inverter_target_rms_v;
	OLED_Clear();
}

void InverterVoltageHandleKey(int key)
{
	if(key==4 && inverter_target_edit_v<INVERTER_OUTPUT_RMS_MAX) /* A: +1 Vrms */
		inverter_target_edit_v++;
	else if(key==8 && inverter_target_edit_v>INVERTER_OUTPUT_RMS_MIN) /* B: -1 Vrms */
		inverter_target_edit_v--;
	else if(key==2) /* 1: MODE0 */
		inverter_closed_loop = 0;
	else if(key==1) /* 2: MODE1 */
		inverter_closed_loop = 1;
	else if(key==15) /* #: apply and run selected mode */
	{
		inverter_target_rms_v = inverter_target_edit_v;
		InverterStart(inverter_closed_loop);
		return;
	}
	else if(key==16) /* D: cancel and remain stopped */
	{
		InverterStop(1);
		inverter_voltage_page = 0;
		OLED_Clear();
	}
}

void InverterVoltageDisplay(void)
{
	OLED_ShowString(0, 0, "SPWM VOLT SET");
	OLED_ShowString(0, 1, inverter_closed_loop ? "MODE1 PID" : "MODE0 OPEN");
	OLED_ShowString(0, 2, "RANGE 18-25Vrms");
	OLED_ShowString(0, 3, "SET:");
	OLED_ShowNum(30, 3, inverter_target_edit_v, 2, 16);
	OLED_ShowString(48, 3, "Vrms");
	OLED_ShowString(0, 5, "A:+1  B:-1");
	OLED_ShowString(0, 6, "#RUN D:CANCEL");
}

void InverterDisplay(void)
{
	if(inverter_test_profile)
		OLED_ShowString(0, 0, "TEST MODE1 PID");
	else
		OLED_ShowString(0, 0, inverter_closed_loop ? "ADJ MODE1 PID" : "ADJ MODE0 OPEN");
	OLED_ShowString(0, 1, "F:");
	OLED_ShowNum(18, 1, inverter_frequency_hz, 3, 12);
	OLED_ShowString(42, 1, "Hz");
	OLED_ShowString(72, 1, inverter_active ? "RUN" : "STOP");
	OLED_ShowString(0, 2, "Vo:");
	OLED_ShowFloat(24, 2, inverter_voltage_rms, 2, 2, 12);
	OLED_ShowString(72, 2, "Vrms");
	OLED_ShowString(0, 3, "Io:");
	OLED_ShowFloat(24, 3, inverter_current_rms, 1, 2, 12);
	OLED_ShowString(66, 3, "Arms");
	OLED_ShowString(0, 4, "M:");
	OLED_ShowFloat(18, 4, inverter_modulation_actual, 1, 3, 12);
	OLED_ShowString(72, 4, "Vdc:36");
	OLED_ShowString(0, 5, "Set:");
	OLED_ShowNum(30, 5, inverter_target_rms_v, 2, 12);
	OLED_ShowString(48, 5, "V");
	if(inverter_fault)
		OLED_ShowString(78, 5, "OC!");
	if(inverter_test_profile)
		OLED_ShowString(0, 6, "6:F C:ADJ #:RUN");
	else
		OLED_ShowString(0, 6, "6:F 3:V C:TEST");
}

void KeyToControl(int key)
{
	if(key==12) /* physical C: safely switch TEST/ADJ profile */
	{
		InverterProfileToggle();
		return;
	}

	if(inverter_voltage_page)
	{
		InverterVoltageHandleKey(key);
		return;
	}

	if(inverter_frequency_page)
	{
		InverterFrequencyHandleKey(key);
		return;
	}

	if(inverter_test_profile)
	{
		if(key==7) /* physical 6: frequency page */
			InverterFrequencyEnter();
		else if(key==15) /* #: run 21 Vrms / MODE1 at the selected frequency */
			InverterStart(1);
		else if(key==16) /* D: stop and clear fault */
			InverterStop(1);
		return;
	}

	if(voltage_setting_page!=0)
	{
		VoltageSettingHandleKey(key);
		return;
	}

	if(key==2) /* physical 1: inverter MODE0 open loop */
	{
		InverterStart(0);
		return;
	}
	if(key==1) /* physical 2: inverter MODE1 closed loop */
	{
		InverterStart(1);
		return;
	}
	if(key==7 || key==14) /* physical 6 or *: frequency page */
	{
		InverterFrequencyEnter();
		return;
	}
	if(key==3) /* physical 3: inverter output-voltage page */
	{
		InverterVoltageEnter();
		return;
	}
	if(inverter_ui_selected)
	{
		if(key==15)
			InverterStart(inverter_closed_loop);
		else if(key==16)
			InverterStop(1);
		InverterUpdatePhaseStep();
		return;
	}

/* Physical layout (key code): 1(2) 2(1) 3(3) A(4)
 *                             4(6) 5(5) 6(7) B(8)
 *                             7(10)8(9) 9(11)C(12)
 *                             *(14)0(13)#(15)D(16) */
  switch (key)
  {
  case 2://physical 1: MODE0
	  mode_flag = 0;
	  main_duty_manual_flag = 0;
	  voltage_control_active = 0;
	  test=1;
	  u1_duty=800;
	  u2_duty=650;
	  __HAL_TIM_SetCompare(&htim1, TIM_CHANNEL_1, (uint16_t)(u1_duty));
	  __HAL_TIM_SetCompare(&htim1, TIM_CHANNEL_2, (uint16_t)(u2_duty));
    break;
  case 6://physical 4: MODE1
	  test=2;
	  main_duty_manual_flag = 0;
	  voltage_control_active = 0;
	  mode_flag = 1;
    break;
  case 10://physical 7
	  rs_flag=1-rs_flag;
	  test=3;
    break;
  case 14://physical *: reserved
	  test=4;
    break;
  case 1://physical 2
	  *paremeter[paremeter_flag] += 50;
	  __HAL_TIM_SetCompare(&htim1, TIM_CHANNEL_1, (uint16_t)(u1_duty));
	  __HAL_TIM_SetCompare(&htim1, TIM_CHANNEL_2, (uint16_t)(u2_duty));
	  test=5;
    break;
  case 5: //physical 5
	  *paremeter[paremeter_flag] -= 50;
	  __HAL_TIM_SetCompare(&htim1, TIM_CHANNEL_1, (uint16_t)(u1_duty));
	  __HAL_TIM_SetCompare(&htim1, TIM_CHANNEL_2, (uint16_t)(u2_duty));
	  test=6;
	break;
  case 9: //physical 8
	  test=7;
      *paremeter[paremeter_flag] += 10;
	  __HAL_TIM_SetCompare(&htim1, TIM_CHANNEL_1, (uint16_t)(u1_duty));
	  __HAL_TIM_SetCompare(&htim1, TIM_CHANNEL_2, (uint16_t)(u2_duty));
    break;
  case 13://physical 0
	  test=8;
	  *paremeter[paremeter_flag] -= 10;
	  __HAL_TIM_SetCompare(&htim1, TIM_CHANNEL_1, (uint16_t)(u1_duty));
	  __HAL_TIM_SetCompare(&htim1, TIM_CHANNEL_2, (uint16_t)(u2_duty));
    break;
  case 3://physical 3: enter voltage setting page
	  test=9;
	  VoltageSettingEnter();
    break;
  case 7://physical 6
	  test=10;
	  *paremeter[paremeter_flag] -= 1;
    break;
  case 11://physical 9
	  test=11;
	  *paremeter[paremeter_flag] += 0.1;
    break;
  case 15://physical #
	  test=12;
	  *paremeter[paremeter_flag] -= 0.1;
    break;
  case 4://physical A: main duty +1%
	  test=13;
	  MainDutyAdjust(MAIN_DUTY_STEP);
    break;
  case 8://physical B: main duty -1%
	  test=14;
	  MainDutyAdjust(-MAIN_DUTY_STEP);
    break;
  case 12://physical C
	  test=15;
	  paremeter_group_add();
    break;
  case 16://physical D
	  test=16;Rs-=0.1;
	  paremeter_choose_add();
    break;
  default:
    break;
  }
}

void paremeter_group_add()
{
  paremeter_group_flag = (paremeter_group_flag + 1) % PAREMETER_GROUP_COUNT;
  paremeter_choose_flag = 0;
  paremeter_flag = paremeter_group_flag * PAREMETER_CHOOSE_COUNT + paremeter_choose_flag;
  OLED_ShowString(0, 6, "              ");
}

void paremeter_choose_add()
{
  paremeter_choose_flag = (paremeter_choose_flag + 1) % PAREMETER_CHOOSE_COUNT;
  paremeter_flag = paremeter_group_flag * PAREMETER_CHOOSE_COUNT + paremeter_choose_flag;
  OLED_ShowString(0, 6, "              ");
}

//{&Uo_set, &spwm_p,&spwm_i,
//&fre, &pwm_duty,&pwm_duty};
void paremeter_display()
{
  switch (paremeter_flag)
  {
  case 0:
	OLED_ShowString(0, 6, "uo_b");
	OLED_ShowFloat(36, 6, *paremeter[0], 4, 4, 12);
    break;
  case 1:
	OLED_ShowString(0, 6, "u1_p");
	OLED_ShowFloat(36, 6, *paremeter[1], 4, 4, 12);
    break;
  case 2:
	OLED_ShowString(0, 6, "u1_i");
	OLED_ShowFloat(36, 6, *paremeter[2], 4, 4, 12);
    break;
  case 3:
	OLED_ShowString(0, 6, "us_b");
	OLED_ShowFloat(36, 6, *paremeter[3], 4, 4, 12);
    break;
  case 4:
	OLED_ShowString(0, 6, "u2_p");
	OLED_ShowFloat(36, 6, *paremeter[4], 4, 4, 12);
    break;
  case 5:
	OLED_ShowString(0, 6, "u2_i");
	OLED_ShowFloat(36, 6, *paremeter[5], 4, 4, 12);
    break;
  case 6:
	OLED_ShowString(0, 6, "bias1");
	OLED_ShowFloat(36, 6, *paremeter[6], 4, 4, 12);
    break;
  case 7:
	OLED_ShowString(0, 6, "bias2");
	OLED_ShowFloat(36, 6, *paremeter[7], 4, 4, 12);
    break;
  case 8:
	OLED_ShowString(0, 6, "bias2");
	OLED_ShowFloat(36, 6, *paremeter[8], 4, 4, 12);
    break;
  case 9:
	OLED_ShowString(0, 6, "duty1");
	OLED_ShowFloat(36, 6, *paremeter[9], 4, 4, 12);
    break;
  case 10:
	OLED_ShowString(0, 6, "duty2");
	OLED_ShowFloat(36, 6, *paremeter[10], 4, 4, 12);
    break;
  case 11:
	OLED_ShowString(0, 6, "duty2");
	OLED_ShowFloat(36, 6, *paremeter[11], 4, 4, 12);
    break;
  default:
    break;
  }
}

void HAL_TIM_PeriodElapsedCallback(TIM_HandleTypeDef *htim) // 涓柇鏈嶅姟鍑芥暟鑷繁缂栧啓
{
  if (htim->Instance == TIM2)
  {
//    HAL_GPIO_WritePin(GPIOC, GPIO_PIN_10, GPIO_PIN_SET);
	if(inverter_active)
	{
	  InverterSpwmStep();
	}
	else if(!voltage_control_active)
	{
	  void *p = model_func_pointer[mode_flag];
	  (*(unsigned int (*)(void))p)();
	}
//    HAL_GPIO_WritePin(GPIOC, GPIO_PIN_10, GPIO_PIN_RESET);
  }

  if (htim->Instance == TIM4&&mppt_flag)
  {
	  mppt();
  }
}

void HAL_ADC_ConvCpltCallback(ADC_HandleTypeDef *hadc)
{
	if(hadc->Instance==ADC1)
	{
		if(inverter_active)
			InverterAdcStep();
		else
		{
			doADC();
			VoltageControlStep();
		}
	}
}
/* USER CODE END 4 */

void Error_Handler(void)
{
  __disable_irq();
  while (1)
  {
  }
}
